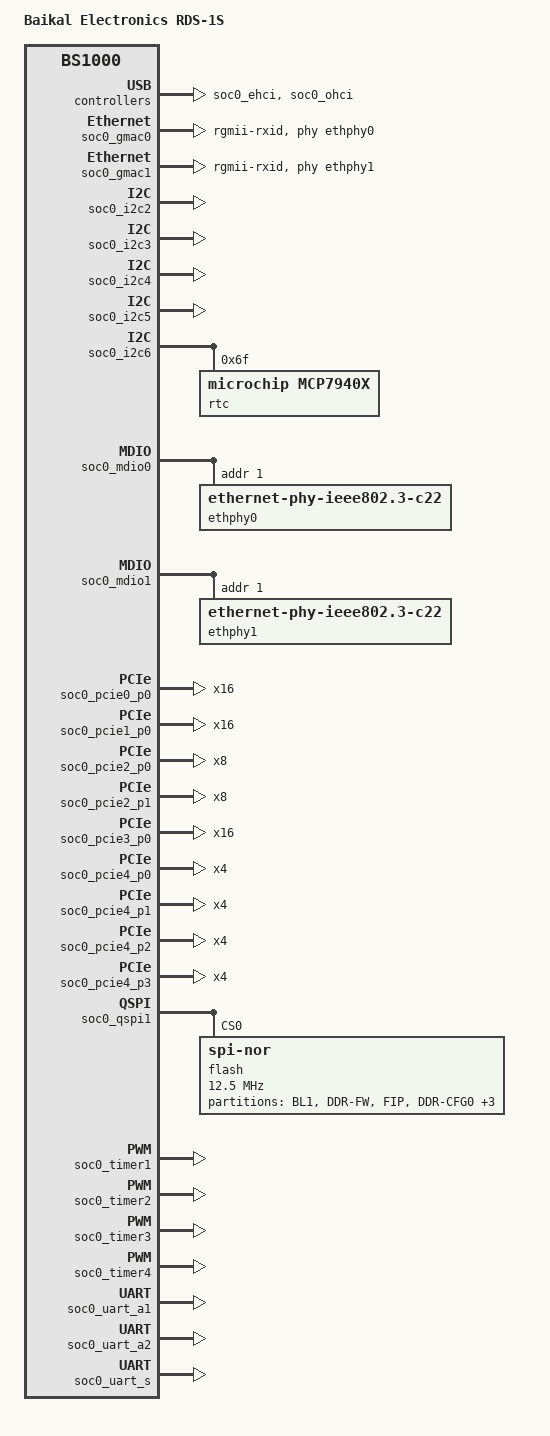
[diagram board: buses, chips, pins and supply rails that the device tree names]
// SPDX-License-Identifier: GPL-2.0
/*
 * Device tree source for Baikal Electronics RDS-1S board
 * Copyright (C) 2023-2025 Baikal Electronics, JSC
 */

/dts-v1/;

#include "bs1000.dtsi"

/ {
	model = "Baikal Electronics RDS-1S";
	compatible = "baikal,rds-1s", "baikal,bs1000";

	aliases {
		ethernet0 = &soc0_gmac0;
		ethernet1 = &soc0_gmac1;
	};

	chosen { };
};

&soc0_ehci {
	status = "okay";
};

&soc0_gmac0 {
	status = "okay";
	phy-handle = <&ethphy0>;
	phy-mode = "rgmii-rxid";
};

&soc0_gmac1 {
	status = "okay";
	phy-handle = <&ethphy1>;
	phy-mode = "rgmii-rxid";
};

&soc0_gpio8_2 {
	status = "okay";
};

&soc0_gpio16 {
	status = "okay";
};

&soc0_gpio32 {
	status = "okay";
};

&soc0_i2c2 {
	status = "okay";
};

&soc0_i2c3 {
	status = "okay";
};

&soc0_i2c4 {
	status = "okay";
};

&soc0_i2c5 {
	status = "okay";
};

&soc0_i2c6 {
	status = "okay";

	rtc@6f {
		compatible = "microchip,mcp7940x";
		reg = <0x6f>;
	};
};

&soc0_mailbox_scmi_a2p {
	status = "okay";
};

&soc0_mailbox_scmi_p2a {
	status = "okay";
};

&soc0_mailbox_sms {
	status = "okay";
};

&soc0_mdio0 {
	reset-delay-us = <10200>;
	reset-post-delay-us = <1000>;

	ethphy0: ethernet-phy@1 {
		compatible = "ethernet-phy-ieee802.3-c22";
		reg = <0x1>;
	};
};

&soc0_mdio1 {
	reset-delay-us = <10200>;
	reset-post-delay-us = <1000>;

	ethphy1: ethernet-phy@1 {
		compatible = "ethernet-phy-ieee802.3-c22";
		reg = <0x1>;
	};
};

&soc0_ohci {
	status = "okay";
};

&soc0_pcie0_p0 {
	status = "okay";
	num-lanes = <16>;
};

&soc0_pcie0_p0_ep {
	status = "okay";
	num-lanes = <16>;
};

/delete-node/ &soc0_pcie0_p0_ep;

&soc0_pcie1_p0 {
	status = "okay";
	num-lanes = <16>;
};

&soc0_pcie1_p0_ep {
	status = "okay";
	num-lanes = <16>;
};

/delete-node/ &soc0_pcie1_p0_ep;

&soc0_pcie2_p0 {
	status = "okay";
	num-lanes = <8>;
};

&soc0_pcie2_p0_ep {
	status = "okay";
	num-lanes = <8>;
};

/delete-node/ &soc0_pcie2_p0_ep;

&soc0_pcie2_p1 {
	status = "okay";
	num-lanes = <8>;
};

&soc0_pcie3_p0 {
	status = "okay";
	num-lanes = <16>;
};

&soc0_pcie4_p0 {
	status = "okay";
	num-lanes = <4>;
};

&soc0_pcie4_p1 {
	status = "okay";
	num-lanes = <4>;
};

&soc0_pcie4_p2 {
	status = "okay";
	num-lanes = <4>;
};

&soc0_pcie4_p3 {
	status = "okay";
	num-lanes = <4>;
};

&soc0_qspi1 {
	status = "okay";

	flash@0 {
		compatible = "jedec,spi-nor";
		reg = <0>;
		spi-max-frequency = <12500000>;
		spi-tx-bus-width = <1>;
		spi-rx-bus-width = <1>;
		status = "okay";

		partitions {
			compatible = "fixed-partitions";
			#address-cells = <1>;
			#size-cells = <1>;

			partition@0 {
				label = "BL1";
				reg = <0x000000 0x20000>;
			};

			partition@20000 {
				label = "DDR-FW";
				reg = <0x020000 0x20000>;
			};

			partition@40000 {
				label = "FIP";
				reg = <0x40000 0x200000>;
			};

			partition@240000 {
				label = "DDR-CFG0";
				reg = <0x240000 0x40000>;
			};

			partition@280000 {
				label = "DDR-CFG1";
				reg = <0x280000 0x40000>;
			};

			partition@2c0000 {
				label = "UEFI vars";
				reg = <0x2c0000 0xc0000>;
			};

			partition@380000 {
				label = "FAT";
				reg = <0x380000 0x3c80000>;
			};
		};
	};
};

&soc0_timer1 {
	status = "okay";
};

&soc0_timer2 {
	status = "okay";
};

&soc0_timer3 {
	status = "okay";
};

&soc0_timer4 {
	status = "okay";
};

&soc0_uart_a1 {
	status = "okay";
};

&soc0_uart_a2 {
	status = "okay";
};

&soc0_uart_s {
	status = "okay";
};

&soc0_wdt {
	status = "okay";
};
